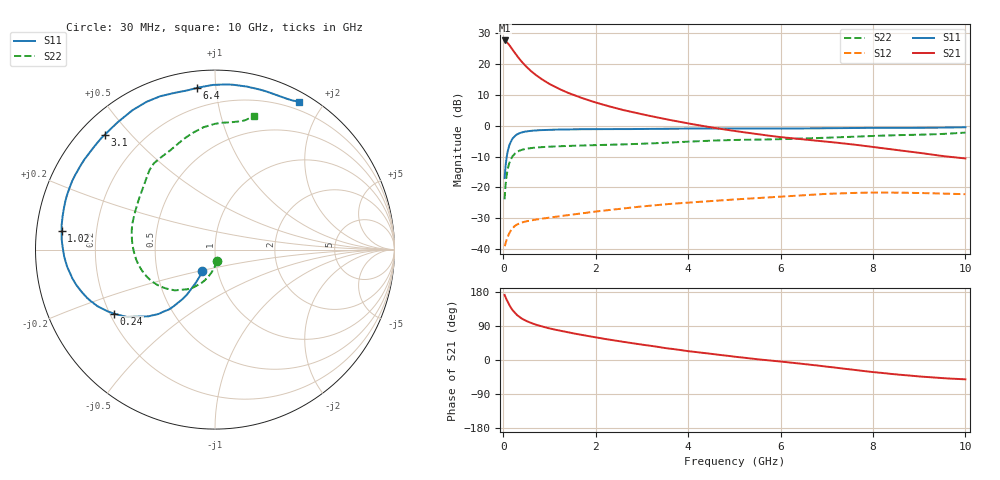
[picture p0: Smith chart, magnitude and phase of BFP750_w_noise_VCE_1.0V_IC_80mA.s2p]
! Infineon Technologies  Discrete & RF Semiconductors
! BFP750
! VCE =  1.0 V,  IC =  80 mA
! Common Emitter S-Parameters:  Jan 2016
# GHz  S  MA  R  50
!  f  S11  S21  S12  S22
! GHz  MAG  ANG  MAG  ANG  MAG  ANG  MAG  ANG
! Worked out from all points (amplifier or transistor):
!   229 points, 30 MHz to 10 GHz, reference 50 ohm
!   highest |S21| = 27.7 dB at 30 MHz (marker M1)
!   |S21| within 3 dB of that: start of sweep to 202.1 MHz
!   unconditionally stable (mu >= 1): start of sweep to 163.9 MHz; 1.287 GHz to end of sweep
!   at 280 MHz: K = 0.78, MSG = 27.7 dB, |S12| = -32.3 dB
!   at 1.78 GHz: K = 1.14, MAG = 16.2 dB, |S12| = -28.3 dB
!   at 10 GHz: K = 1.52, MAG = 1.6 dB, |S12| = -22.2 dB
!   lowest NFmin = 1.35 dB at 450 MHz
!   S11 on the Smith chart (normalised r, x): 30 MHz: 0.84, -0.21; 240 MHz: 0.22, -0.28; 1.02 GHz: 0.08, +0.06; 3.1 GHz: 0.07, +0.42; 6.4 GHz: 0.09, +0.89; 10 GHz: 0.11, +1.71
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0.03  0.1414 -120.6  24.29 171.7  0.0111 16.0  0.064 -81.7
0.07  0.2955 -121.9  23.03 160.0  0.0138 26.8  0.1484 -102.6
0.1  0.3935 -126.2  21.86 152.2  0.0158 29.7  0.201 -112.2
0.12  0.449 -129.7  20.98 147.4  0.0173 30.6  0.2313 -117.7
0.15  0.5236 -134.8  19.61 140.9  0.0192 30.2  0.27 -125.0
0.2  0.6178 -142.6  17.28 131.8  0.0217 29.0  0.3191 -134.6
0.24  0.6671 -147.7  15.7 126.1  0.0232 27.5  0.3457 -141.0
0.3  0.7269 -154.3  13.61 118.5  0.025 25.7  0.3768 -148.5
0.36  0.7622 -159.4  11.93 112.9  0.0262 24.3  0.3966 -154.4
0.4  0.7799 -162.5  10.97 109.4  0.0268 23.5  0.4069 -157.7
0.5  0.8106 -168.6  9.113 102.8  0.0281 22.3  0.424 -164.2
0.7  0.8411 -177.3  6.727 93.4  0.0299 21.5  0.4429 -173.0
1.02  0.8605 173.0  4.698 82.8  0.0324 21.9  0.4585 177.8
1.3  0.8709 166.3  3.699 75.5  0.0346 22.6  0.4678 172.0
1.7  0.8797 158.1  2.829 66.2  0.0379 23.2  0.4787 165.2
3.1  0.887 133.9  1.485 39.0  0.0498 20.3  0.5142 144.2
3.4  0.8904 129.1  1.333 33.7  0.0523 18.8  0.5253 140.4
5.1  0.9056 108.6  0.805 7.6  0.0643 9.9  0.5903 124.2
6.4  0.906 96.5  0.611 -9.2  0.0737 1.7  0.6188 110.7
6.8  0.9129 92.7  0.572 -14.6  0.0768 -1.7  0.6326 107.4
8.4  0.926 74.3  0.416 -36.8  0.0823 -17.2  0.7002 90.2
10  0.9474 60.4  0.295 -51.0  0.0775 -28.6  0.7749 73.9
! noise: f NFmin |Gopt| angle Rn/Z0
0.45  1.35  0.27  -168  0.4
0.9  1.37  0.35  -163  0.18
1.5  1.39  0.46  -155  0.09
1.9  1.39  0.48  -149  0.09
2.4  1.39  0.48  -142  0.11
3.5  1.63  0.48  -126  0.15
